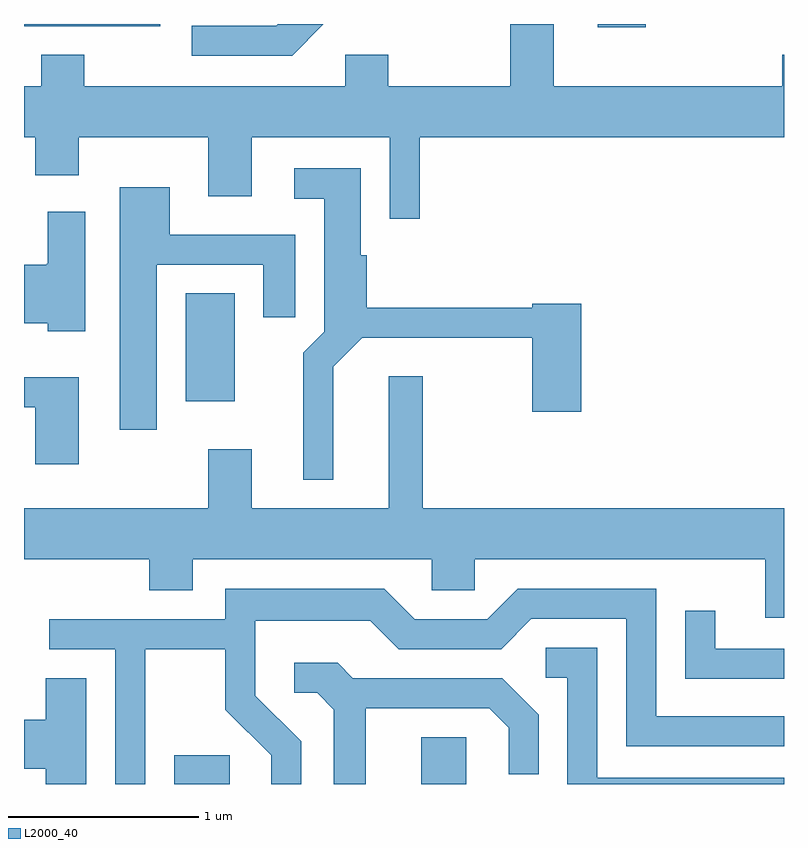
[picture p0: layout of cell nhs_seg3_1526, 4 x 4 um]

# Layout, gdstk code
import gdstk
lib = gdstk.Library(unit=1e-6, precision=1e-09)
def R(c, l, rs):  # rectangles x0, y0, x1, y1
    for r in rs: c.add(gdstk.rectangle(r[:2], r[2:], *l))
def P(c, l, *ps):  # polygons
    for p in ps: c.add(gdstk.Polygon(p, *l))
L2000_40 = (2000, 40)

nhs_seg3_1526 = lib.new_cell('nhs_seg3_1526')
R(nhs_seg3_1526, L2000_40, [(230.401,1175.892,230.694,1176.044), (231.701,1175.892,231.939,1176.139), (230.461,1177.906,230.719,1178.474), (232.631,1179.876,232.884,1179.892), (229.611,1179.881,230.329,1179.892)])
P(nhs_seg3_1526, L2000_40, [(231.694,1179.296),(233.611,1179.296),(233.611,1179.729),(233.601,1179.729),(233.601,1179.564),(232.399,1179.564),(232.399,1179.892),(232.171,1179.892),(232.171,1179.564),(231.529,1179.564),(231.529,1179.729),(231.301,1179.729),(231.301,1179.564),(229.929,1179.564),(229.929,1179.729),(229.701,1179.729),(229.701,1179.564),(229.611,1179.564),(229.611,1179.296),(229.671,1179.296),(229.671,1179.096),(229.899,1179.096),(229.899,1179.296),(230.581,1179.296),(230.581,1178.986),(230.809,1178.986),(230.809,1179.296),(231.536,1179.296),(231.536,1178.868),(231.694,1178.868)],
  [(231.187,1179.892),(230.947,1179.892),(230.939,1179.884),(230.493,1179.884),(230.493,1179.726),(231.022,1179.726)],
  [(231.239,1178.089),(231.392,1178.241),(232.286,1178.241),(232.286,1177.851),(232.544,1177.851),(232.544,1178.419),(232.286,1178.419),(232.286,1178.399),(231.414,1178.399),(231.414,1178.674),(231.384,1178.674),(231.384,1179.134),(231.033,1179.134),(231.033,1178.971),(231.191,1178.971),(231.191,1178.272),(231.081,1178.162),(231.081,1177.493),(231.239,1177.493)],
  [(230.309,1178.626),(230.871,1178.626),(230.871,1178.348),(231.039,1178.348),(231.039,1178.784),(230.379,1178.784),(230.379,1179.034),(230.116,1179.034),(230.116,1177.756),(230.309,1177.756)],
  [(229.934,1178.904),(229.736,1178.904),(229.736,1178.63),(229.73,1178.63),(229.73,1178.624),(229.611,1178.624),(229.611,1178.316),(229.736,1178.316),(229.736,1178.276),(229.934,1178.276)],
  [(233.611,1177.344),(231.709,1177.344),(231.709,1178.039),(231.531,1178.039),(231.531,1177.344),(230.809,1177.344),(230.809,1177.654),(230.581,1177.654),(230.581,1177.344),(229.611,1177.344),(229.611,1177.076),(230.271,1177.076),(230.271,1176.911),(230.499,1176.911),(230.499,1177.076),(231.756,1177.076),(231.756,1176.911),(231.984,1176.911),(231.984,1177.076),(233.511,1177.076),(233.511,1176.766),(233.611,1176.766)],
  [(229.899,1178.034),(229.611,1178.034),(229.611,1177.876),(229.671,1177.876),(229.671,1177.576),(229.899,1177.576)],
  [(230.249,1176.601),(230.671,1176.601),(230.671,1176.284),(230.911,1176.044),(230.911,1175.892),(231.069,1175.892),(231.069,1176.117),(230.829,1176.357),(230.829,1176.751),(231.434,1176.751),(231.584,1176.601),(232.122,1176.601),(232.282,1176.761),(232.781,1176.761),(232.781,1176.091),(233.611,1176.091),(233.611,1176.249),(232.939,1176.249),(232.939,1176.919),(232.209,1176.919),(232.049,1176.759),(231.667,1176.759),(231.507,1176.919),(230.671,1176.919),(230.671,1176.759),(229.743,1176.759),(229.743,1176.601),(230.091,1176.601),(230.091,1175.892),(230.249,1175.892)],
  [(233.611,1176.604),(233.249,1176.604),(233.249,1176.803),(233.091,1176.803),(233.091,1176.446),(233.611,1176.446)],
  [(233.611,1175.924),(232.629,1175.924),(232.629,1176.609),(232.358,1176.609),(232.358,1176.451),(232.471,1176.451),(232.471,1175.892),(233.611,1175.892)],
  [(231.409,1176.291),(232.059,1176.291),(232.161,1176.189),(232.161,1175.943),(232.319,1175.943),(232.319,1176.257),(232.127,1176.449),(231.342,1176.449),(231.262,1176.529),(231.033,1176.529),(231.033,1176.371),(231.154,1176.371),(231.241,1176.284),(231.241,1175.892),(231.409,1175.892)],
  [(229.939,1176.449),(229.726,1176.449),(229.726,1176.229),(229.611,1176.229),(229.611,1175.971),(229.726,1175.971),(229.726,1175.892),(229.939,1175.892)])

lib.write_gds('nhs_seg3_1526.gds')
